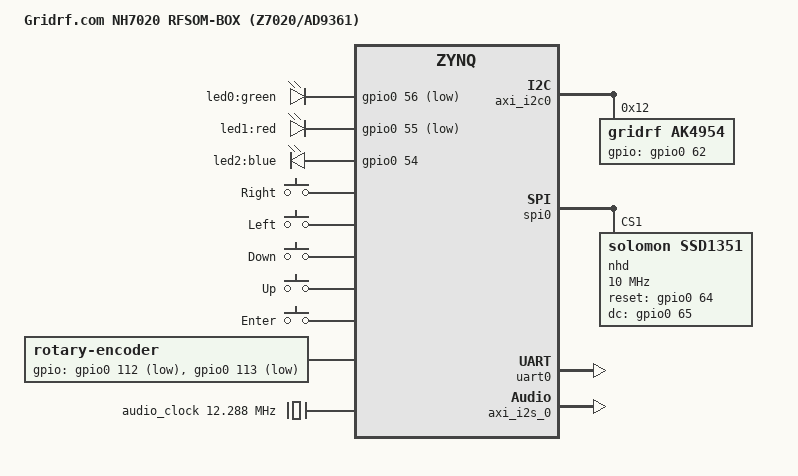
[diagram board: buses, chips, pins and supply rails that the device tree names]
/dts-v1/;
#include "zynq-nh7020.dtsi"
#include <dt-bindings/input/input.h>
#include <dt-bindings/gpio/gpio.h>
#include <dt-bindings/interrupt-controller/irq.h>

/ {
	model = "Gridrf.com NH7020 RFSOM-BOX (Z7020/AD9361)";
};

&axi_i2c0 {	
	ak4954: ak4954@12 {
				compatible = "gridrf,ak4954";
				reg = <0x12>;

				clocks = <&audio_clock>;
				gpios = <&gpio0 62 0>;

				#sound-dai-cells = <0>;
			};
};

/ {
	leds {
		compatible = "gpio-leds";
		led0 {
			label = "led0:green";
			gpios = <&gpio0 56 1>;
			};

		led1 {
			label = "led1:red";
			gpios = <&gpio0 55 1>;
		};

		led2 {
			label = "led2:blue";
			gpios = <&gpio0 54 0>;
		};
	};
	
	gpio-keys-nav-switch {
		compatible = "gpio-keys";
		#address-cells = <1>;
		#size-cells = <0>;
		interrupt-parent = <&gpio0>;
		autorepeat;

		s5 {
			label = "Right";
			linux,code = <KEY_RIGHT>;
			interrupts = <103 IRQ_TYPE_EDGE_RISING>;
			debounce-interval = <10>;
		};

		s3 {
			label = "Left";
			linux,code = <KEY_LEFT>;
			interrupts = <101 IRQ_TYPE_EDGE_RISING>;
			debounce-interval = <10>;
			};

		s4 {
			label = "Down";
			linux,code = <KEY_DOWN>;
			interrupts = <104 IRQ_TYPE_EDGE_RISING>;
			debounce-interval = <10>;
		};

		s2 {
			label = "Up";
			linux,code = <KEY_UP>;
			interrupts = <102 IRQ_TYPE_EDGE_RISING>;
			debounce-interval = <10>;
		};

		s1 {
			label = "Enter";
			linux,code = <KEY_ENTER>;
			interrupts = <111 IRQ_TYPE_EDGE_RISING>;
			debounce-interval = <10>;
			gpio-key,wakeup;
		};

	};

	rotary {
			compatible = "rotary-encoder";
			gpios = <&gpio0 112 1>, <&gpio0 113 1>;
			linux,axis = <REL_WHEEL>;
			rotary-encoder,steps = <24>;
			rotary-encoder,steps-per-period = <2>;
			rotary-encoder,rollover;
			rotary-encoder,relative-axis;
	};

	audio_clock: audio_clock {
		compatible = "fixed-clock";
		#clock-cells = <0>;
		clock-frequency = <12288000>;
	};

	nh7020_sound {
		compatible = "simple-audio-card";
		simple-audio-card,name = "NH7020 AUDIO";
		
		simple-audio-card,dai-link@0 {
			format = "i2s";
			cpu {
				sound-dai = <&axi_i2s_0>;
				frame-master;
				bitclock-master;
			};
			codec {
				sound-dai = <&ak4954>;
			};
		};
	};
};

&spi0 {
	status = "okay";

	nhd@0{
		compatible = "solomon,ssd1351";
		reg = <1>;
		status = "ok";
		bgr;
		spi-max-frequency = <10000000>;
		rotate = <0>;
		fps = <60>;
		buswidth = <8>;
		regwidth = <8>;
		reset-gpios = <&gpio0 64 0>;
		dc-gpios = <&gpio0 65 0>;
		debug = <0>;
	};
};

&uart0 {
	status = "okay";
};

&aliases {
	serial1 = &uart0;
};

&fpga_axi {
	axi_i2s_0: axi-i2s@77600000 {
		compatible = "adi,axi-i2s-1.00.a";
		reg = <0x77600000 0x1000>;
		dmas = <&dmac_s 0 &dmac_s 1>;
		dma-names = "tx", "rx";
		clocks = <&clkc 15>, <&audio_clock>;
		clock-names = "axi", "ref";

		#sound-dai-cells = <0>;
	};
};



